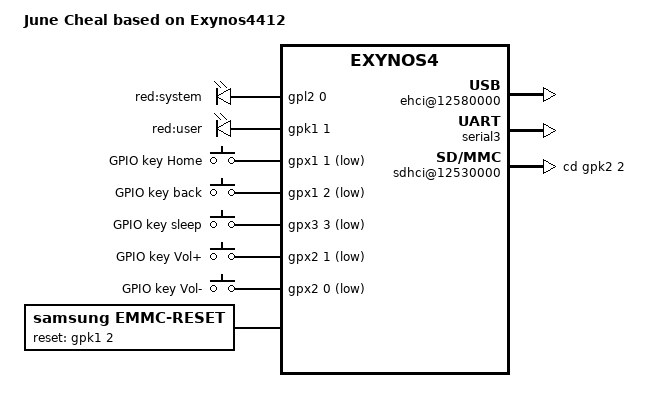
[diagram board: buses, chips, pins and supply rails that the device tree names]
/*
 * Odroid-U3/X2 board device tree source
 *
 * Copyright (c) 2014 Samsung Electronics Co., Ltd.
 *		http://www.samsung.com
 *
 * SPDX-License-Identifier:	GPL-2.0+
 */

/dts-v1/;
#include "exynos4412.dtsi"
#include <dt-bindings/gpio/gpio.h>
#include <dt-bindings/input/input.h>
/ {
	model = "June Cheal based on Exynos4412";
	compatible = "samsung,zj4412", "samsung,exynos4412", "samsung,exynos4";

	chosen {
		stdout-path = "serial3:115200n8";
	};

	aliases {
		serial3 = "/serial@13830000";
		console = "/serial@13830000";
		/* mmc0 = &mshc_0; */
		/* mmc1 = &sdhci2; */
	};

	leds {
		compatible = "gpio-leds";

		led2 {
			label = "red:system";
			gpios = <&gpl2 0 GPIO_ACTIVE_HIGH>;
			default-state = "off";
			linux,default-trigger = "heartbeat";
		};

		led3 {
			label = "red:user";
			gpios = <&gpk1 1 GPIO_ACTIVE_HIGH>;
			default-state = "off";
		};
	};

	gpio-keys {
		compatible = "gpio-keys";

		home {
			label = "GPIO key Home";
			linux,code = <KEY_HOME>;
			gpios = <&gpx1 1 GPIO_ACTIVE_LOW>;
		};

		back {
			label = "GPIO key back";
			linux,code = <KEY_BACK>;
			gpios = <&gpx1 2 GPIO_ACTIVE_LOW>;
		};

		sleep {
			label = "GPIO key sleep";
			linux,code = <KEY_POWER>;
			gpios = <&gpx3 3 GPIO_ACTIVE_LOW>;
		};

		vol-up {
			label = "GPIO key Vol+";
			linux,code = <KEY_UP>;
			gpios = <&gpx2 1 GPIO_ACTIVE_LOW>;
		};

		vol-down {
			label = "GPIO key Vol-";
			linux,code = <KEY_DOWN>;
			gpios = <&gpx2 0 GPIO_ACTIVE_LOW>;
		};

	};

	ehci@12580000 {
		compatible = "samsung,exynos4412-ehci";
		reg = <0x12580000 0x100>;
		#address-cells = <1>;
		#size-cells = <1>;
		phy {
			compatible = "samsung,exynos-usb-phy";
			reg = <0x125B0000 0x100>;
		};
	};

	serial3:serial@13830000 {
		status = "okay";
	};

	sdhci@12530000 {
		compatible = "samsung,exynos4412-sdhci";
		samsung,bus-width = <4>;
		samsung,timing = <1 2 3>; 
		cd-gpios = <&gpk2 2 0>;
		status = "okay";
	};

	emmc-reset {
		compatible = "samsung,emmc-reset";
		reset-gpio = <&gpk1 2 0>;
	};

/*
	mshc {
		samsung,bus-width = <8>;
		samsung,timing = <2 1 0>;
		samsung,removable = <0>;
		fifoth_val = <0x203f0040>;
		bus_hz = <800000000>;
		div = <0x4>;
		index = <4>;
		status = "okay";
	};
*/
};

/*
&sdhci2 {
	samsung,bus-width = <4>;
	samsung,timing = <1 2 3>; 
	cd-gpios = <&gpk2 2 0>;
	status = "okay";
};
*/
/*
&mshc_0 {
	samsung,bus-width = <8>;
	samsung,timing = <2 1 0>;
	samsung,removable = <0>;
	fifoth_val = <0x203f0040>;
	bus_hz = <800000000>;
	div = <0x7>;
	index = <4>;
	fifo-depth = <0x80>;
	status = "okay";
};
*/
